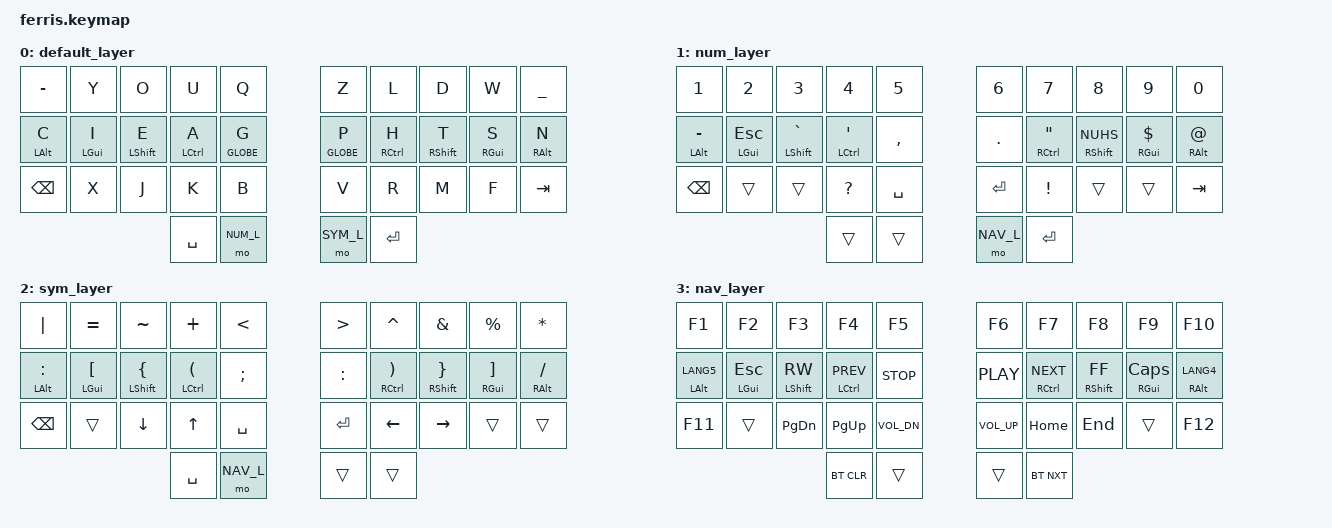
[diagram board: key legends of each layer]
/*
 * Copyright (c) 2020 The ZMK Contributors
 *
 * SPDX-License-Identifier: MIT
 */

#undef ZMK_BEHAVIORS_KEEP_ALL

#include <behaviors.dtsi>
#include <dt-bindings/zmk/keys.h>
#include <dt-bindings/zmk/bt.h>

#define NUM_L 1
#define SYM_L 2
#define NAV_L 3

// Using layer taps on thumbs, having quick tap as well helps w/ repeating space/backspace
&lt { quick-tap-ms = <200>; };

/ {
    behaviors {
        hm: homerow_mods {
            compatible = "zmk,behavior-hold-tap";
            #binding-cells = <2>;
            tapping-term-ms = <200>;
            flavor = "tap-preferred";
            bindings = <&kp>, <&kp>;
        };
    };

    keymap {
        compatible = "zmk,keymap";

        default_layer {
            bindings = <
                &kp MINUS  &kp Y      &kp O       &kp U          &kp Q         &kp Z            &kp L          &kp D       &kp W      &kp UNDER
                &hm LALT C &hm LGUI I &hm LSHFT E &hm LCTRL A    &hm GLOBE G   &hm GLOBE P      &hm RCTRL H    &hm RSHFT T &hm RGUI S &hm RALT N
                &kp BSPC   &kp X      &kp J       &kp K          &kp B         &kp V            &kp R          &kp M       &kp F      &kp TAB
                                              &kp SPACE          &mo NUM_L     &mo SYM_L        &kp ENTER
            >;
        };

        num_layer {
            bindings = <
                &kp N1     &kp N2     &kp N3      &kp N4          &kp N5        &kp N6          &kp N7         &kp N8      &kp N9     &kp N0
        &hm LALT MINUS &hm LGUI ESC &hm LSHFT GRAVE &hm LCTRL SQT &kp COMMA     &kp PERIOD &hm RCTRL DQT &hm RSHFT NUHS &hm RGUI DOLLAR &hm RALT AT
                &kp BSPC   &trans     &trans      &kp QMARK       &kp SPACE     &kp ENTER       &kp EXCL       &trans      &trans     &kp TAB
                                                  &trans          &trans        &mo NAV_L       &kp ENTER
            >;
        };

        sym_layer {
            bindings = <
                &kp PIPE   &kp EQUAL   &kp TILDE   &kp PLUS       &kp LT        &kp GT          &kp CARET      &kp AMPS    &kp PRCNT  &kp ASTRK
        &hm LALT COLON  &hm LGUI LBKT  &hm LSHFT LBRC  &hm LCTRL LPAR &kp SEMI  &kp COLON       &hm RCTRL RPAR &hm RSHFT RBRC &hm RGUI RBKT &hm RALT SLASH
                &kp BSPC   &trans      &kp DOWN    &kp UP         &kp SPACE     &kp ENTER       &kp LEFT       &kp RIGHT    &trans     &trans
                                                   &kp SPACE      &mo NAV_L     &trans          &trans
            >;
        };

        nav_layer {
            bindings = <
                &kp F1     &kp F2     &kp F3      &kp F4          &kp F5       &kp F6           &kp F7         &kp F8      &kp F9     &kp F10
       &hm LALT LANG5 &hm LGUI ESC &hm LSHFT C_RW &hm LCTRL C_PREV &kp C_STOP &kp C_PLAY &hm RCTRL C_NEXT &hm RSHFT C_FF &hm RGUI CAPS &hm RALT LANG4
                &kp F11    &trans     &kp PG_DN   &kp PG_UP       &kp C_VOL_DN &kp C_VOL_UP     &kp HOME       &kp END     &trans     &kp F12
                                                  &bt BT_CLR      &trans       &trans           &bt BT_NXT
            >;
        };

    };
};
